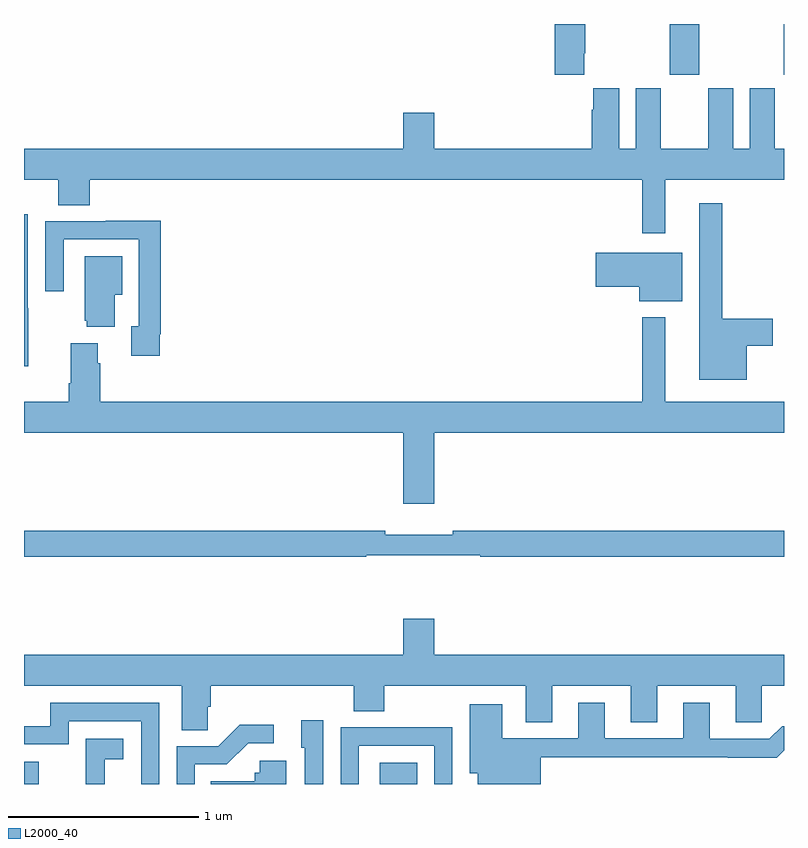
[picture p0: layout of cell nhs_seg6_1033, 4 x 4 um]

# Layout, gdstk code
import gdstk
lib = gdstk.Library(unit=1e-6, precision=1e-09)
def R(c, l, rs):  # rectangles x0, y0, x1, y1
    for r in rs: c.add(gdstk.rectangle(r[:2], r[2:], *l))
def P(c, l, *ps):  # polygons
    for p in ps: c.add(gdstk.Polygon(p, *l))
L2000_40 = (2000, 40)

nhs_seg6_1033 = lib.new_cell('nhs_seg6_1033')
R(nhs_seg6_1033, L2000_40, [(175,933.5,175.077,933.618), (176.873,933.5,177.07,933.613), (178.399,937.233,178.554,937.5), (178.999,937.233,179,937.5)])
P(nhs_seg6_1033, L2000_40, [(177.949,937.345),(177.954,937.345),(177.954,937.5),(177.794,937.5),(177.794,937.233),(177.949,937.233)],
  [(178.375,936.68),(179,936.68),(179,936.844),(178.951,936.844),(178.951,937.162),(178.82,937.162),(178.82,936.844),(178.732,936.844),(178.732,937.162),(178.601,937.162),(178.601,936.844),(178.351,936.844),(178.351,937.162),(178.22,937.162),(178.22,936.844),(178.132,936.844),(178.132,937.162),(177.995,937.162),(177.995,937.049),(177.989,937.049),(177.989,936.844),(177.16,936.844),(177.16,937.033),(176.996,937.033),(176.996,936.844),(175,936.844),(175,936.68),(175.181,936.68),(175.181,936.547),(175.346,936.547),(175.346,936.68),(178.254,936.68),(178.254,936.399),(178.375,936.399)],
  [(178.804,935.806),(178.942,935.806),(178.942,935.948),(178.675,935.948),(178.675,936.556),(178.553,936.556),(178.553,935.627),(178.804,935.627)],
  [(175.023,936.005),(175.02,936.005),(175.02,936.499),(175,936.499),(175,935.699),(175.023,935.699)],
  [(175.714,935.866),(175.721,935.866),(175.721,936.464),(175.429,936.464),(175.429,936.462),(175.113,936.462),(175.113,936.093),(175.209,936.093),(175.209,936.366),(175.605,936.366),(175.605,935.91),(175.565,935.91),(175.565,935.754),(175.714,935.754)],
  [(178.465,936.295),(178.008,936.295),(178.008,936.116),(178.238,936.116),(178.238,936.041),(178.465,936.041)],
  [(175.477,936.074),(175.516,936.074),(175.516,936.277),(175.319,936.277),(175.319,935.937),(175.331,935.937),(175.331,935.906),(175.477,935.906)],
  [(177.16,935.348),(179,935.348),(179,935.512),(178.375,935.512),(178.375,935.956),(178.254,935.956),(178.254,935.512),(175.4,935.512),(175.4,935.714),(175.387,935.714),(175.387,935.821),(175.247,935.821),(175.247,935.608),(175.235,935.608),(175.235,935.512),(175,935.512),(175,935.348),(176.996,935.348),(176.996,934.974),(177.16,934.974)],
  [(176.8,934.704),(177.4,934.704),(177.4,934.696),(179,934.696),(179,934.832),(177.256,934.832),(177.256,934.813),(176.9,934.813),(176.9,934.832),(175,934.832),(175,934.696),(176.8,934.696)],
  [(175.968,933.907),(175.982,933.907),(175.982,934.016),(176.735,934.016),(176.735,933.883),(176.895,933.883),(176.895,934.016),(177.641,934.016),(177.641,933.826),(177.781,933.826),(177.781,934.016),(178.193,934.016),(178.193,933.826),(178.333,933.826),(178.333,934.016),(178.745,934.016),(178.745,933.826),(178.884,933.826),(178.884,934.016),(179,934.016),(179,934.18),(177.16,934.18),(177.16,934.369),(176.996,934.369),(176.996,934.18),(175,934.18),(175,934.016),(175.829,934.016),(175.829,933.784),(175.968,933.784)],
  [(177.721,933.64),(178.705,933.64),(178.705,933.638),(178.961,933.638),(179,933.677),(179,933.805),(178.99,933.805),(178.923,933.738),(178.609,933.738),(178.609,933.928),(178.469,933.928),(178.469,933.741),(178.057,933.741),(178.057,933.928),(177.917,933.928),(177.917,933.741),(177.517,933.741),(177.517,933.919),(177.347,933.919),(177.347,933.557),(177.389,933.557),(177.389,933.5),(177.721,933.5)],
  [(175.713,933.927),(175.139,933.927),(175.139,933.804),(175,933.804),(175,933.708),(175.236,933.708),(175.236,933.831),(175.617,933.831),(175.617,933.5),(175.713,933.5)],
  [(176.574,933.835),(176.459,933.835),(176.459,933.69),(176.478,933.69),(176.478,933.5),(176.574,933.5)],
  [(175.899,933.603),(176.068,933.603),(176.179,933.714),(176.314,933.714),(176.314,933.812),(176.135,933.812),(176.022,933.699),(175.803,933.699),(175.803,933.5),(175.899,933.5)],
  [(176.763,933.702),(177.159,933.702),(177.159,933.5),(177.255,933.5),(177.255,933.8),(176.983,933.8),(176.983,933.798),(176.667,933.798),(176.667,933.5),(176.763,933.5)],
  [(175.424,933.629),(175.522,933.629),(175.522,933.739),(175.324,933.739),(175.324,933.533),(175.325,933.533),(175.325,933.5),(175.424,933.5)],
  [(176.38,933.622),(176.241,933.622),(176.241,933.558),(176.215,933.558),(176.215,933.514),(175.984,933.514),(175.984,933.5),(176.38,933.5)])

lib.write_gds('nhs_seg6_1033.gds')
